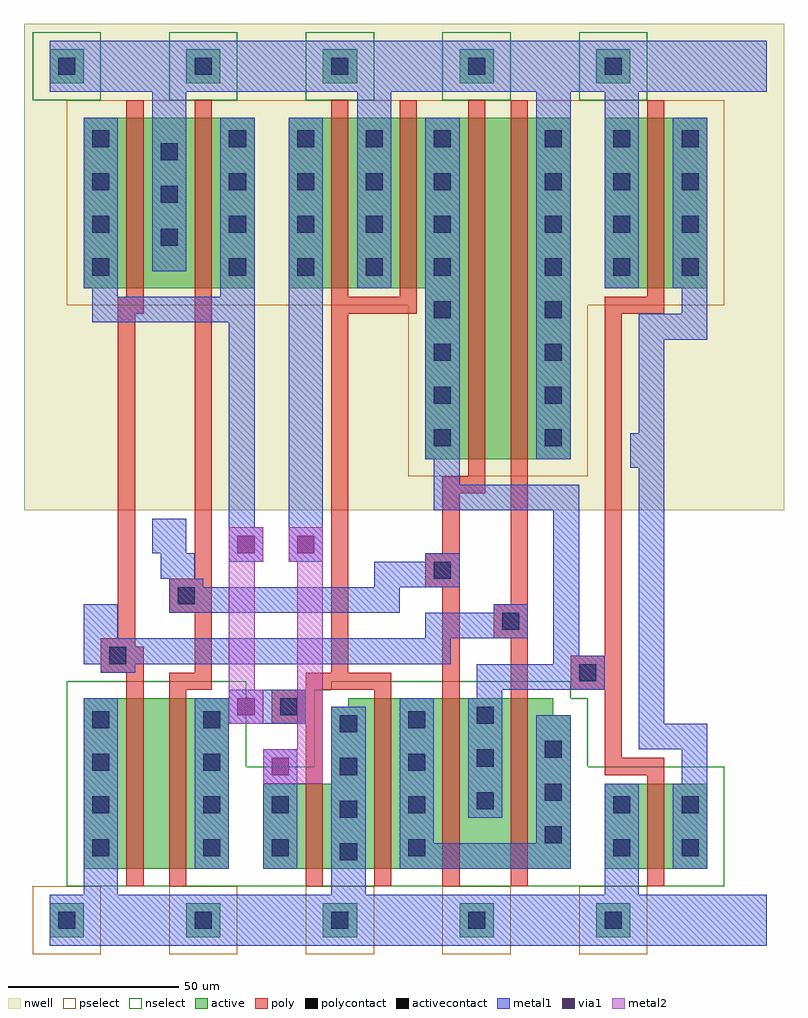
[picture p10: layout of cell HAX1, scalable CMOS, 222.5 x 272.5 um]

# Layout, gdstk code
import gdstk
lib = gdstk.Library(unit=1e-6, precision=1e-09)
def R(c, l, rs):  # rectangles x0, y0, x1, y1
    for r in rs: c.add(gdstk.rectangle(r[:2], r[2:], *l))
def A(c, l, x, y, w, h, nx, ny, dx, dy):  # array of equal rectangles
    R(c, l, [(x+i*dx, y+j*dy, x+i*dx+w, y+j*dy+h) for i in range(nx) for j in range(ny)])
nwell = (42, 0)
active = (43, 0)
pselect = (44, 0)
nselect = (45, 0)
poly = (46, 0)
polycontact = (47, 0)
activecontact = (48, 0)
metal1 = (49, 0)
via1 = (50, 0)
metal2 = (51, 0)

hax1 = lib.new_cell('HAX1')
R(hax1, nwell, [(-12.5,120,210,262.5)])
A(hax1, active, -5, -5, 10, 10, 5, 2, 40, 250)
R(hax1, active, [(5,15,47.5,65), (57.5,15,147.5,40), (157.5,15,187.5,40), (77.5,40,147.5,60), (77.5,60,142.5,62.5), (82.5,62.5,142.5,65), (105,135,147.5,185), (5,185,55,235), (65,185,147.5,235), (157.5,185,187.5,235)])
A(hax1, pselect, -10, -10, 20, 20, 5, 1, 40, 0)
R(hax1, pselect, [(100,130,152.5,180), (0,180,192.5,240)])
A(hax1, nselect, -10, 240, 20, 20, 5, 1, 40, 0)
R(hax1, nselect, [(0,10,192.5,45), (0,45,52.5,70), (72.5,45,152.5,65), (72.5,65,147.5,67.5), (77.5,67.5,147.5,70)])
R(hax1, poly, [(17.5,10,22.5,72.5), (30,10,35,67.5), (70,10,75,57.5), (90,10,95,67.5), (110,10,115,97.5), (130,10,135,82.5), (170,10,175,42.5), (157.5,42.5,175,47.5), (157.5,47.5,162.5,67.5), (60,57.5,75,67.5), (30,67.5,42.5,72.5), (70,67.5,95,72.5), (147.5,67.5,162.5,77.5), (10,72.5,22.5,80), (37.5,72.5,42.5,90), (77.5,72.5,82.5,177.5), (157.5,77.5,162.5,177.5), (10,80,20,82.5), (15,82.5,20,177.5), (125,82.5,135,92.5), (30,90,42.5,100), (130,92.5,135,240), (105,97.5,115,107.5), (37.5,100,42.5,240), (110,107.5,115,125), (110,125,122.5,130), (117.5,130,122.5,240), (15,177.5,22.5,182.5), (77.5,177.5,102.5,182.5), (157.5,177.5,175,182.5), (17.5,182.5,22.5,240), (77.5,182.5,82.5,240), (97.5,182.5,102.5,240), (170,182.5,175,240)])
R(hax1, polycontact, [(62.5,60,67.5,65), (150,70,155,75), (12.5,75,17.5,80), (127.5,85,132.5,90), (32.5,92.5,37.5,97.5), (107.5,100,112.5,105)])
A(hax1, activecontact, -2.5, -2.5, 5, 5, 5, 2, 40, 250)
A(hax1, activecontact, 80, 17.5, 5, 5, 1, 4, 0, 12.5)
A(hax1, activecontact, 7.5, 18.75, 5, 5, 1, 4, 0, 12.5)
A(hax1, activecontact, 40, 18.75, 5, 5, 1, 4, 0, 12.5)
A(hax1, activecontact, 100, 18.75, 5, 5, 1, 4, 0, 12.5)
A(hax1, activecontact, 140, 22.5, 5, 5, 1, 3, 0, 12.5)
A(hax1, activecontact, 120, 32.5, 5, 5, 1, 3, 0, 12.5)
A(hax1, activecontact, 107.5, 138.75, 5, 5, 1, 4, 0, 12.5)
A(hax1, activecontact, 140, 138.75, 5, 5, 1, 4, 0, 12.5)
A(hax1, activecontact, 7.5, 188.75, 5, 5, 1, 4, 0, 12.5)
A(hax1, activecontact, 47.5, 188.75, 5, 5, 4, 4, 20, 12.5)
A(hax1, activecontact, 140, 188.75, 5, 5, 3, 4, 20, 12.5)
A(hax1, activecontact, 27.5, 197.5, 5, 5, 1, 3, 0, 12.5)
R(hax1, activecontact, [(60,18.75,65,23.75), (160,18.75,165,23.75), (180,18.75,185,23.75), (60,31.25,65,36.25), (160,31.25,165,36.25), (180,31.25,185,36.25)])
R(hax1, metal1, [(-5,-7.5,205,7.5), (5,7.5,15,65), (77.5,7.5,87.5,62.5), (157.5,7.5,167.5,40), (37.5,15,47.5,57.5), (57.5,15,67.5,50), (97.5,15,147.5,22.5), (177.5,15,187.5,40), (97.5,22.5,107.5,65), (137.5,22.5,147.5,60), (117.5,30,127.5,65), (180,40,187.5,50), (167.5,50,187.5,57.5), (37.5,57.5,70,65), (167.5,57.5,175,132.5), (47.5,65,70,67.5), (120,65,127.5,67.5), (120,67.5,157.5,75), (10,72.5,20,75), (5,75,112.5,82.5), (142.5,75,157.5,77.5), (142.5,77.5,150,120), (5,82.5,15,92.5), (105,82.5,135,90), (30,90,97.5,97.5), (125,90,135,92.5), (30,97.5,40,100), (90,97.5,115,105), (27.5,100,37.5,107.5), (47.5,105,57.5,115), (65,105,75,235), (105,105,115,107.5), (25,107.5,35,117.5), (47.5,115,55,175), (107.5,120,150,127.5), (107.5,127.5,115,135), (165,132.5,175,142.5), (105,135,115,235), (137.5,135,147.5,242.5), (167.5,142.5,175,170), (167.5,170,187.5,177.5), (7.5,175,55,182.5), (180,177.5,187.5,185), (7.5,182.5,15,185), (45,182.5,55,235), (5,185,15,235), (85,185,95,242.5), (157.5,185,167.5,242.5), (177.5,185,187.5,235), (25,190,35,242.5), (-5,242.5,205,257.5)])
R(hax1, via1, [(60,42.5,65,47.5), (50,60,55,65), (50,107.5,55,112.5), (67.5,107.5,72.5,112.5)])
R(hax1, metal2, [(57.5,40,75,50), (67.5,50,75,105), (47.5,57.5,57.5,67.5), (47.5,67.5,55,105), (47.5,105,57.5,115), (65,105,75,115)])

lib.write_gds('HAX1.gds')
